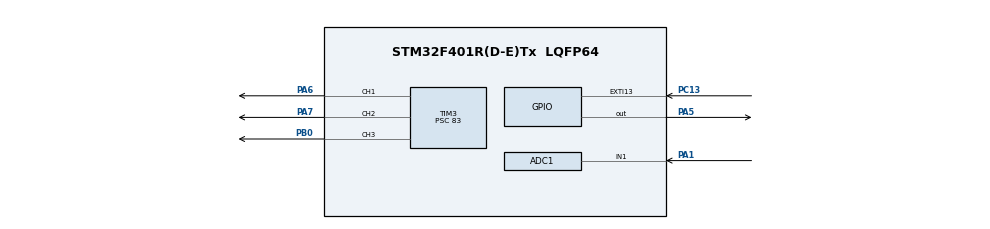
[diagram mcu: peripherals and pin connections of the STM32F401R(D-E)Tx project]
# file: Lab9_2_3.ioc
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ADC1.Channel-1\#ChannelRegularConversion=ADC_CHANNEL_1
ADC1.NbrOfConversionFlag=1
ADC1.Rank-1\#ChannelRegularConversion=1
ADC1.Resolution=ADC_RESOLUTION_8B
ADC1.SamplingTime-1\#ChannelRegularConversion=ADC_SAMPLETIME_3CYCLES
ADC1.master=1
Mcu.Family=STM32F4
Mcu.Name=STM32F401R(D-E)Tx
Mcu.Package=LQFP64
NVIC.ADC_IRQn=true\:0\:0\:false\:false\:true\:true\:true\:true
NVIC.EXTI15_10_IRQn=true\:0\:0\:false\:false\:true\:true\:true\:true
NVIC.PriorityGroup=NVIC_PRIORITYGROUP_4
NVIC.TIM3_IRQn=true\:0\:0\:false\:false\:true\:true\:true\:true
NVIC.TIM4_IRQn=true\:0\:0\:false\:false\:true\:true\:true\:true
PA1.Signal=ADCx_IN1
PA5.Signal=GPIO_Output
PA6.Signal=S_TIM3_CH1
PA7.Signal=S_TIM3_CH2
PB0.Signal=S_TIM3_CH3
PC13-ANTI_TAMP.Signal=GPXTI13
ProjectManager.HeapSize=0x200
ProjectManager.StackSize=0x400
ProjectManager.TargetToolchain=STM32CubeIDE
RCC.48MHZClocksFreq_Value=84000000
RCC.AHBFreq_Value=84000000
RCC.APB1CLKDivider=RCC_HCLK_DIV4
RCC.APB1Freq_Value=21000000
RCC.APB1TimFreq_Value=42000000
RCC.APB2Freq_Value=84000000
RCC.APB2TimFreq_Value=84000000
RCC.CortexFreq_Value=84000000
RCC.HCLKFreq_Value=84000000
RCC.HSE_VALUE=25000000
RCC.HSI_VALUE=16000000
RCC.LSE_VALUE=32768
RCC.PLLN=336
RCC.PLLP=RCC_PLLP_DIV4
RCC.SYSCLKFreq_VALUE=84000000
RCC.SYSCLKSource=RCC_SYSCLKSOURCE_PLLCLK
RCC.VCOOutputFreq_Value=336000000
SH.ADCx_IN1.0=ADC1_IN1,IN1
SH.S_TIM3_CH1.0=TIM3_CH1,Output Compare1 CH1
SH.S_TIM3_CH2.0=TIM3_CH2,Output Compare2 CH2
SH.S_TIM3_CH3.0=TIM3_CH3,Output Compare3 CH3
TIM3.Channel-Output\ Compare1\ CH1=TIM_CHANNEL_1
TIM3.Channel-Output\ Compare2\ CH2=TIM_CHANNEL_2
TIM3.Channel-Output\ Compare3\ CH3=TIM_CHANNEL_3
TIM3.OCMode_1=TIM_OCMODE_TOGGLE
TIM3.OCMode_2=TIM_OCMODE_TOGGLE
TIM3.OCMode_3=TIM_OCMODE_TOGGLE
TIM3.Prescaler=83
TIM4.Channel-Output\ Compare2\ No\ Output=TIM_CHANNEL_2
TIM4.Prescaler=83
VP_TIM3_VS_ClockSourceINT.Mode=Internal
VP_TIM4_VS_ClockSourceINT.Mode=Internal
VP_TIM4_VS_no_output2.Mode=Output Compare2 No Output
board=custom

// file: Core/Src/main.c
/* USER CODE BEGIN Header */
/**
  ******************************************************************************
  * @file           : main.c
  * @brief          : Main program body
  ******************************************************************************
  * @attention
  *
  * Copyright (c) 2026 STMicroelectronics.
  * All rights reserved.
  *
  * This software is licensed under terms that can be found in the LICENSE file
  * in the root directory of this software component.
  * If no LICENSE file comes with this software, it is provided AS-IS.
  *
  ******************************************************************************
  */
/* USER CODE END Header */
#include "main.h"

/* USER CODE BEGIN PD */
#define ADC_MAX_VALUE             255U
#define ADC_DATA_MASK            0xFFU

#define TIM3_CH1_MIN_PERIOD_US    100U
#define TIM3_CH1_MAX_PERIOD_US   1000U
#define TIM3_CH2_MIN_PERIOD_US    200U
#define TIM3_CH2_MAX_PERIOD_US   2000U
#define TIM3_CH3_MIN_PERIOD_US    400U
#define TIM3_CH3_MAX_PERIOD_US   4000U

/* USER CODE END PD */

/* USER CODE BEGIN PV */
volatile uint16_t tim3_ch1_step = TIM3_CH1_MIN_PERIOD_US / 2U;
volatile uint16_t tim3_ch2_step = TIM3_CH2_MIN_PERIOD_US / 2U;
volatile uint16_t tim3_ch3_step = TIM3_CH3_MIN_PERIOD_US / 2U;
volatile uint16_t adc_value = 0U;
volatile uint8_t adc_value_ready = 0U;

/* USER CODE END PV */

void SystemClock_Config(void);
static void MX_GPIO_Init(void);
static void MX_TIM3_Init(void);
static void MX_ADC1_Init(void);
static void MX_TIM4_Init(void);

/* USER CODE BEGIN 0 */
static uint16_t ADC_to_STEP(uint16_t adc_value, uint16_t min_period, uint16_t max_period)
{
  uint32_t period_range = (uint32_t)max_period - min_period;
  uint32_t period_offset = ((uint32_t)adc_value * period_range) / ADC_MAX_VALUE;TIM3_CH1_MIN_PERIOD_US
  uint32_t output_period = min_period + period_offset;

  return (uint16_t)(output_period / 2U);
}

/* USER CODE END 0 */
TIM3_CH1_MIN_PERIOD_US
int main(void)
{

  /* MCU Configuration--------------------------------------------------------*/

  /* Reset of all peripherals, Initializes the Flash interface and the Systick. */
  LL_APB2_GRP1_EnableClock(LL_APB2_GRP1_PERIPH_SYSCFG);
  LL_APB1_GRP1_EnableClock(LL_APB1_GRP1_PERIPH_PWR);

  /* System interrupt init*/
  NVIC_SetPriorityGrouping(NVIC_PRIORITYGROUP_4);

  /* SysTick_IRQn interrupt configuration */
  NVIC_SetPriority(SysTick_IRQn, NVIC_EncodePriority(NVIC_GetPriorityGrouping(),15, 0));

  /* Configure the system clock */
  SystemClock_Config();

  /* Initialize all configured peripherals */
  MX_GPIO_Init();
  MX_TIM3_Init();
  MX_ADC1_Init();
  MX_TIM4_Init();
  /* USER CODE BEGIN 2 */

  SysTick_Config(SystemCoreClock / 1000);

  uint16_t tim3_cnt = LL_TIM_GetCounter(TIM3);

  LL_TIM_OC_SetCompareCH1(TIM3, tim3_cnt + tim3_ch1_step);
  LL_TIM_OC_SetCompareCH2(TIM3, tim3_cnt + tim3_ch2_step);
  LL_TIM_OC_SetCompareCH3(TIM3, tim3_cnt + tim3_ch3_step);

  LL_TIM_ClearFlag_CC1(TIM3);
  LL_TIM_ClearFlag_CC2(TIM3);
  LL_TIM_ClearFlag_CC3(TIM3);

  LL_TIM_EnableIT_CC1(TIM3);
  LL_TIM_EnableIT_CC2(TIM3);
  LL_TIM_EnableIT_CC3(TIM3);

  LL_ADC_WriteReg(ADC1, SR, 0);
  LL_ADC_WriteReg(ADC1, CR2, LL_ADC_ReadReg(ADC1, CR2) | ADC_CR2_ADON);
  LL_ADC_WriteReg(ADC1, CR1, LL_ADC_ReadReg(ADC1, CR1) | ADC_CR1_EOCIE);

  for (volatile uint32_t i = 0; i < 1000; i++)
  {
  }

  uint16_t tim4_cnt = LL_TIM_GetCounter(TIM4);

  LL_TIM_OC_SetCompareCH2(TIM4, tim4_cnt + TIM4_ADC_TRIGGER_STEP);
  LL_TIM_ClearFlag_CC2(TIM4);
  LL_TIM_EnableIT_CC2(TIM4);

  LL_TIM_EnableCounter(TIM3);
  LL_TIM_EnableCounter(TIM4);

  /* USER CODE END 2 */

  /* Infinite loop */
  while (1)
  {

    /* USER CODE BEGIN 3 */
    if (adc_value_ready != 0U)
    {
      adc_value_ready = 0U;

      tim3_ch1_step = ADC_to_STEP(adc_value, TIM3_CH1_MIN_PERIOD_US, TIM3_CH1_MAX_PERIOD_US);
      tim3_ch2_step = ADC_to_STEP(adc_value, TIM3_CH2_MIN_PERIOD_US, TIM3_CH2_MAX_PERIOD_US);
      tim3_ch3_step = ADC_to_STEP(adc_value, TIM3_CH3_MIN_PERIOD_US, TIM3_CH3_MAX_PERIOD_US);
    }
  }
  /* USER CODE END 3 */
}

void SystemClock_Config(void)
{
  LL_FLASH_SetLatency(LL_FLASH_LATENCY_2);
  while(LL_FLASH_GetLatency()!= LL_FLASH_LATENCY_2)
  {
  }
  LL_PWR_SetRegulVoltageScaling(LL_PWR_REGU_VOLTAGE_SCALE2);
  LL_RCC_HSI_SetCalibTrimming(16);
  LL_RCC_HSI_Enable();

   /* Wait till HSI is ready */
  while(LL_RCC_HSI_IsReady() != 1)
  {

  }
  LL_RCC_PLL_ConfigDomain_SYS(LL_RCC_PLLSOURCE_HSI, LL_RCC_PLLM_DIV_16, 336, LL_RCC_PLLP_DIV_4);
  LL_RCC_PLL_Enable();

   /* Wait till PLL is ready */
  while(LL_RCC_PLL_IsReady() != 1)
  {

  }
  while (LL_PWR_IsActiveFlag_VOS() == 0)
  {
  }
  LL_RCC_SetAHBPrescaler(LL_RCC_SYSCLK_DIV_1);
  LL_RCC_SetAPB1Prescaler(LL_RCC_APB1_DIV_2);
  LL_RCC_SetAPB2Prescaler(LL_RCC_APB2_DIV_1);
  LL_RCC_SetSysClkSource(LL_RCC_SYS_CLKSOURCE_PLL);

   /* Wait till System clock is ready */
  while(LL_RCC_GetSysClkSource() != LL_RCC_SYS_CLKSOURCE_STATUS_PLL)
  {

  }
  LL_Init1msTick(84000000);
  LL_SetSystemCoreClock(84000000);
  LL_RCC_SetTIMPrescaler(LL_RCC_TIM_PRESCALER_TWICE);
}

static void MX_ADC1_Init(void)
{

  LL_ADC_InitTypeDef ADC_InitStruct = {0};
  LL_ADC_REG_InitTypeDef ADC_REG_InitStruct = {0};
  LL_ADC_CommonInitTypeDef ADC_CommonInitStruct = {0};

  LL_GPIO_InitTypeDef GPIO_InitStruct = {0};

  /* Peripheral clock enable */
  LL_APB2_GRP1_EnableClock(LL_APB2_GRP1_PERIPH_ADC1);

  LL_AHB1_GRP1_EnableClock(LL_AHB1_GRP1_PERIPH_GPIOA);
  /**ADC1 GPIO Configuration
  PA1   ------> ADC1_IN1
  */
  GPIO_InitStruct.Pin = LL_GPIO_PIN_1;
  GPIO_InitStruct.Mode = LL_GPIO_MODE_ANALOG;
  GPIO_InitStruct.Pull = LL_GPIO_PULL_NO;
  LL_GPIO_Init(GPIOA, &GPIO_InitStruct);

  /* ADC1 interrupt Init */
  NVIC_SetPriority(ADC_IRQn, NVIC_EncodePriority(NVIC_GetPriorityGrouping(),0, 0));
  NVIC_EnableIRQ(ADC_IRQn);

  /** Common config
  */
  ADC_InitStruct.Resolution = LL_ADC_RESOLUTION_8B;
  ADC_InitStruct.DataAlignment = LL_ADC_DATA_ALIGN_RIGHT;
  ADC_InitStruct.SequencersScanMode = LL_ADC_SEQ_SCAN_DISABLE;
  LL_ADC_Init(ADC1, &ADC_InitStruct);
  ADC_REG_InitStruct.TriggerSource = LL_ADC_REG_TRIG_SOFTWARE;
  ADC_REG_InitStruct.SequencerLength = LL_ADC_REG_SEQ_SCAN_DISABLE;
  ADC_REG_InitStruct.SequencerDiscont = LL_ADC_REG_SEQ_DISCONT_DISABLE;
  ADC_REG_InitStruct.ContinuousMode = LL_ADC_REG_CONV_SINGLE;
  ADC_REG_InitStruct.DMATransfer = LL_ADC_REG_DMA_TRANSFER_NONE;
  LL_ADC_REG_Init(ADC1, &ADC_REG_InitStruct);
  LL_ADC_REG_SetFlagEndOfConversion(ADC1, LL_ADC_REG_FLAG_EOC_UNITARY_CONV);
  ADC_CommonInitStruct.CommonClock = LL_ADC_CLOCK_SYNC_PCLK_DIV4;
  LL_ADC_CommonInit(__LL_ADC_COMMON_INSTANCE(ADC1), &ADC_CommonInitStruct);

  /** Configure Regular Channel
  */
  LL_ADC_REG_SetSequencerRanks(ADC1, LL_ADC_REG_RANK_1, LL_ADC_CHANNEL_1);
  LL_ADC_SetChannelSamplingTime(ADC1, LL_ADC_CHANNEL_1, LL_ADC_SAMPLINGTIME_3CYCLES);

}

static void MX_TIM3_Init(void)
{

  LL_TIM_InitTypeDef TIM_InitStruct = {0};
  LL_TIM_OC_InitTypeDef TIM_OC_InitStruct = {0};

  LL_GPIO_InitTypeDef GPIO_InitStruct = {0};

  /* Peripheral clock enable */
  LL_APB1_GRP1_EnableClock(LL_APB1_GRP1_PERIPH_TIM3);

  /* TIM3 interrupt Init */
  NVIC_SetPriority(TIM3_IRQn, NVIC_EncodePriority(NVIC_GetPriorityGrouping(),0, 0));
  NVIC_EnableIRQ(TIM3_IRQn);

  TIM_InitStruct.Prescaler = 83;
  TIM_InitStruct.CounterMode = LL_TIM_COUNTERMODE_UP;
  TIM_InitStruct.Autoreload = 65535;
  TIM_InitStruct.ClockDivision = LL_TIM_CLOCKDIVISION_DIV1;
  LL_TIM_Init(TIM3, &TIM_InitStruct);
  LL_TIM_DisableARRPreload(TIM3);
  LL_TIM_SetClockSource(TIM3, LL_TIM_CLOCKSOURCE_INTERNAL);
  TIM_OC_InitStruct.OCMode = LL_TIM_OCMODE_TOGGLE;
  TIM_OC_InitStruct.OCState = LL_TIM_OCSTATE_ENABLE;
  TIM_OC_InitStruct.OCNState = LL_TIM_OCSTATE_DISABLE;
  TIM_OC_InitStruct.CompareValue = 0;
  TIM_OC_InitStruct.OCPolarity = LL_TIM_OCPOLARITY_HIGH;
  LL_TIM_OC_Init(TIM3, LL_TIM_CHANNEL_CH1, &TIM_OC_InitStruct);
  LL_TIM_OC_DisableFast(TIM3, LL_TIM_CHANNEL_CH1);
  LL_TIM_OC_Init(TIM3, LL_TIM_CHANNEL_CH2, &TIM_OC_InitStruct);
  LL_TIM_OC_DisableFast(TIM3, LL_TIM_CHANNEL_CH2);
  LL_TIM_OC_Init(TIM3, LL_TIM_CHANNEL_CH3, &TIM_OC_InitStruct);
  LL_TIM_OC_DisableFast(TIM3, LL_TIM_CHANNEL_CH3);
  LL_TIM_SetTriggerOutput(TIM3, LL_TIM_TRGO_RESET);
  LL_TIM_DisableMasterSlaveMode(TIM3);
  LL_AHB1_GRP1_EnableClock(LL_AHB1_GRP1_PERIPH_GPIOA);
  LL_AHB1_GRP1_EnableClock(LL_AHB1_GRP1_PERIPH_GPIOB);
  /**TIM3 GPIO Configuration
  PA6   ------> TIM3_CH1
  PA7   ------> TIM3_CH2
  PB0   ------> TIM3_CH3
  */
  GPIO_InitStruct.Pin = LL_GPIO_PIN_6|LL_GPIO_PIN_7;
  GPIO_InitStruct.Mode = LL_GPIO_MODE_ALTERNATE;
  GPIO_InitStruct.Speed = LL_GPIO_SPEED_FREQ_LOW;
  GPIO_InitStruct.OutputType = LL_GPIO_OUTPUT_PUSHPULL;
  GPIO_InitStruct.Pull = LL_GPIO_PULL_NO;
  GPIO_InitStruct.Alternate = LL_GPIO_AF_2;
  LL_GPIO_Init(GPIOA, &GPIO_InitStruct);

  GPIO_InitStruct.Pin = LL_GPIO_PIN_0;
  GPIO_InitStruct.Mode = LL_GPIO_MODE_ALTERNATE;
  GPIO_InitStruct.Speed = LL_GPIO_SPEED_FREQ_LOW;
  GPIO_InitStruct.OutputType = LL_GPIO_OUTPUT_PUSHPULL;
  GPIO_InitStruct.Pull = LL_GPIO_PULL_NO;
  GPIO_InitStruct.Alternate = LL_GPIO_AF_2;
  LL_GPIO_Init(GPIOB, &GPIO_InitStruct);

}

static void MX_TIM4_Init(void)
{

  LL_TIM_InitTypeDef TIM_InitStruct = {0};
  LL_TIM_OC_InitTypeDef TIM_OC_InitStruct = {0};

  /* Peripheral clock enable */
  LL_APB1_GRP1_EnableClock(LL_APB1_GRP1_PERIPH_TIM4);

  /* TIM4 interrupt Init */
  NVIC_SetPriority(TIM4_IRQn, NVIC_EncodePriority(NVIC_GetPriorityGrouping(),0, 0));
  NVIC_EnableIRQ(TIM4_IRQn);

  /* USER CODE BEGIN TIM4_Init 1 */TIM3_CH1_MIN_PERIOD_US

  /* USER CODE END TIM4_Init 1 */
  TIM_InitStruct.Prescaler = 8399;
  TIM_InitStruct.CounterMode = LL_TIM_COUNTERMODE_UP;
  TIM_InitStruct.Autoreload = 65535;
  TIM_InitStruct.ClockDivision = LL_TIM_CLOCKDIVISION_DIV1;
  LL_TIM_Init(TIM4, &TIM_InitStruct);
  LL_TIM_DisableARRPreload(TIM4);
  LL_TIM_SetClockSource(TIM4, LL_TIM_CLOCKSOURCE_INTERNAL);
  TIM_OC_InitStruct.OCMode = LL_TIM_OCMODE_FROZEN;
  TIM_OC_InitStruct.OCState = LL_TIM_OCSTATE_DISABLE;
  TIM_OC_InitStruct.OCNState = LL_TIM_OCSTATE_DISABLE;
  TIM_OC_InitStruct.CompareValue = 0;
  TIM_OC_InitStruct.OCPolarity = LL_TIM_OCPOLARITY_HIGH;
  LL_TIM_OC_Init(TIM4, LL_TIM_CHANNEL_CH2, &TIM_OC_InitStruct);
  LL_TIM_OC_DisableFast(TIM4, LL_TIM_CHANNEL_CH2);
  LL_TIM_SetTriggerOutput(TIM4, LL_TIM_TRGO_RESET);
  LL_TIM_DisableMasterSlaveMode(TIM4);

}

static void MX_GPIO_Init(void)
{
  LL_EXTI_InitTypeDef EXTI_InitStruct = {0};
  LL_GPIO_InitTypeDef GPIO_InitStruct = {0};

  /* GPIO Ports Clock Enable */
  LL_AHB1_GRP1_EnableClock(LL_AHB1_GRP1_PERIPH_GPIOC);
  LL_AHB1_GRP1_EnableClock(LL_AHB1_GRP1_PERIPH_GPIOA);
  LL_AHB1_GRP1_EnableClock(LL_AHB1_GRP1_PERIPH_GPIOB);

  /**/
  LL_GPIO_ResetOutputPin(GPIOA, LL_GPIO_PIN_5);

  /**/
  LL_SYSCFG_SetEXTISource(LL_SYSCFG_EXTI_PORTC, LL_SYSCFG_EXTI_LINE13);

  /**/
  EXTI_InitStruct.Line_0_31 = LL_EXTI_LINE_13;
  EXTI_InitStruct.LineCommand = ENABLE;
  EXTI_InitStruct.Mode = LL_EXTI_MODE_IT;
  EXTI_InitStruct.Trigger = LL_EXTI_TRIGGER_RISING;
  LL_EXTI_Init(&EXTI_InitStruct);

  /**/
  LL_GPIO_SetPinPull(GPIOC, LL_GPIO_PIN_13, LL_GPIO_PULL_NO);

  /**/
  LL_GPIO_SetPinMode(GPIOC, LL_GPIO_PIN_13, LL_GPIO_MODE_INPUT);

  /**/
  GPIO_InitStruct.Pin = LL_GPIO_PIN_5;
  GPIO_InitStruct.Mode = LL_GPIO_MODE_OUTPUT;
  GPIO_InitStruct.Speed = LL_GPIO_SPEED_FREQ_LOW;
  GPIO_InitStruct.OutputType = LL_GPIO_OUTPUT_PUSHPULL;
  GPIO_InitStruct.Pull = LL_GPIO_PULL_NO;
  LL_GPIO_Init(GPIOA, &GPIO_InitStruct);

  /* EXTI interrupt init*/
  NVIC_SetPriority(EXTI15_10_IRQn, NVIC_EncodePriority(NVIC_GetPriorityGrouping(),0, 0));
  NVIC_EnableIRQ(EXTI15_10_IRQn);

}

void Error_Handler(void)
{
  __disable_irq();
  while (1)
  {
  }
}
